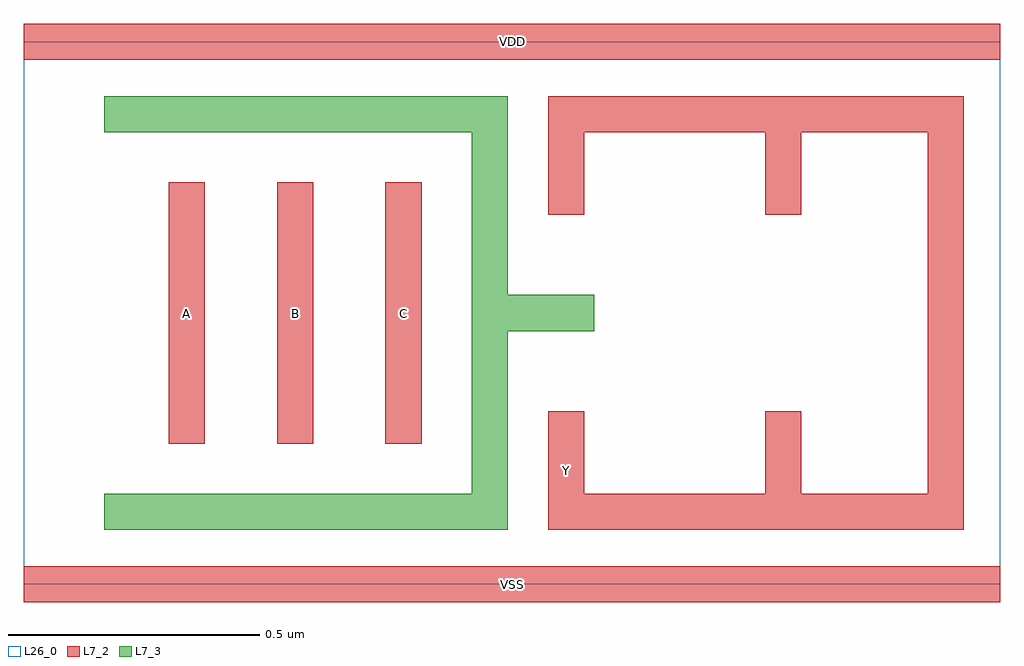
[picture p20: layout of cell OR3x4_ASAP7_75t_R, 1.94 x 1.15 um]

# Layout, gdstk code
import gdstk
lib = gdstk.Library(unit=1e-6, precision=1e-09)
def R(c, l, rs):  # rectangles x0, y0, x1, y1
    for r in rs: c.add(gdstk.rectangle(r[:2], r[2:], *l))
def A(c, l, x, y, w, h, nx, ny, dx, dy):  # array of equal rectangles
    R(c, l, [(x+i*dx, y+j*dy, x+i*dx+w, y+j*dy+h) for i in range(nx) for j in range(ny)])
L7_2 = (7, 2)
L7_3 = (7, 3)
L26_0 = (26, 0)

or3x4_asap7_75t_r = lib.new_cell('OR3x4_ASAP7_75t_R')
A(or3x4_asap7_75t_r, L7_2, 0.288, 0.28, 0.072, 0.52, 3, 1, 0.216, 0)
R(or3x4_asap7_75t_r, L7_2, [(0,-0.036,1.944,0.036), (1.044,0.108,1.872,0.18), (1.044,0.108,1.116,0.344), (1.476,0.108,1.548,0.344), (1.8,0.108,1.872,0.972), (1.044,0.736,1.116,0.972), (1.476,0.736,1.548,0.972), (1.044,0.9,1.872,0.972), (0,1.044,1.944,1.116)])
R(or3x4_asap7_75t_r, L7_3, [(0.16,0.108,0.964,0.18), (0.892,0.108,0.964,0.972), (0.892,0.504,1.136,0.576), (0.16,0.9,0.964,0.972)])
R(or3x4_asap7_75t_r, L26_0, [(0,0,1.944,1.08)])
or3x4_asap7_75t_r.add(gdstk.Label('A', (0.324,0.54), layer=7, texttype=1))
or3x4_asap7_75t_r.add(gdstk.Label('B', (0.54,0.54), layer=7, texttype=1))
or3x4_asap7_75t_r.add(gdstk.Label('C', (0.756,0.54), layer=7, texttype=1))
or3x4_asap7_75t_r.add(gdstk.Label('VDD', (0.972,1.08), layer=7, texttype=1))
or3x4_asap7_75t_r.add(gdstk.Label('VSS', (0.972,0), layer=7, texttype=1))
or3x4_asap7_75t_r.add(gdstk.Label('Y', (1.08,0.226), layer=7, texttype=1))

lib.write_gds('OR3x4_ASAP7_75t_R.gds')
